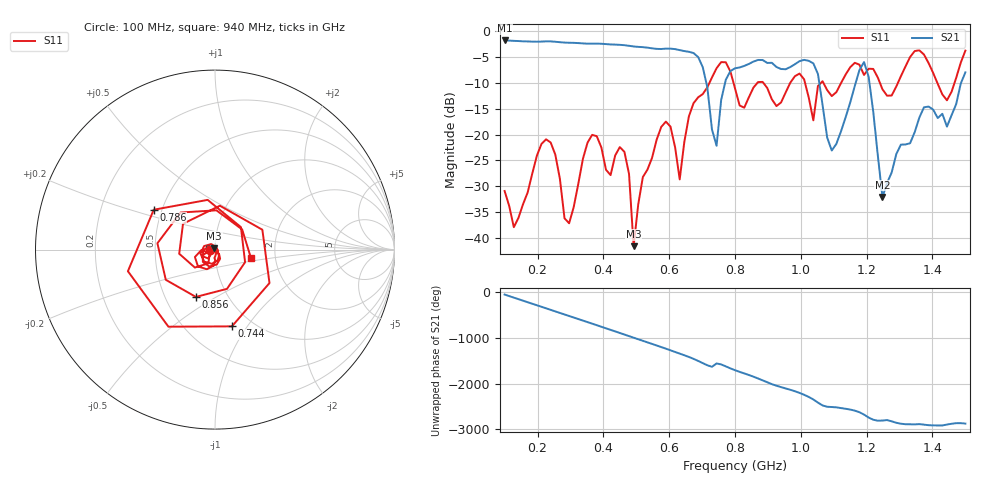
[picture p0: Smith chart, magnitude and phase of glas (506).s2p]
! NanoVNA-App
! Date: 2025-09-25 15:59:25
! Start: 100MHz Stop: 1,5GHz Points: 101
! S-Parameter data: F S11 S21 S12 S22
# Hz S RI R 50
!  Frequency  S11_Real  S11_Imag  S21_Real  S21_Imag  S12_Real  S12_Imag  S22_Real  S22_Imag
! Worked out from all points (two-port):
!   101 points, 100 MHz to 1.5 GHz, reference 50 ohm
!   highest |S21| = -1.80 dB at 100 MHz (marker M1); lowest = -32.1 dB at 1.248 GHz (marker M2)
!   |S21| within 3 dB of the highest: start of sweep to 684.3 MHz
!   lowest |S11| = -41.6 dB at 492 MHz (marker M3), VSWR 1.02, Z = 49.5 + j0.654 ohm
!   |S11| at or under -10 dB: start of sweep to 722.4 MHz; 795.4 MHz to 868 MHz (72.6 MHz wide, 8.73 % of centre); 886.1 MHz to 967.8 MHz (81.66 MHz wide, 8.81 % of centre)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
!   S12 and S22 are empty: the file has one direction only
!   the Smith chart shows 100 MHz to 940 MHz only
!   S11 on the Smith chart (normalised r, x): 100 MHz: 0.95, -0.01; 744 MHz: 0.81, -0.85; 786 MHz: 0.45, +0.24; 856 MHz: 0.71, -0.41; 940 MHz: 1.49, -0.14
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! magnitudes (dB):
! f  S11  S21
! 100 MHz  -30.9  -1.8
! 128 MHz  -37.9  -1.9
! 226 MHz  -20.9  -2.0
! 296 MHz  -37.2  -2.2
! 338 MHz  -24.7  -2.4
! 464 MHz  -23.4  -2.7
! 492 MHz  -41.6  -3.0
! 576 MHz  -18.5  -3.5
! 632 MHz  -28.7  -3.7
! 702 MHz  -12.2  -7.0
! 744 MHz  -7.2  -22.2
! 786 MHz  -7.8  -7.7
! 800 MHz  -11.1  -7.2
! 856 MHz  -10.9  -5.9
! 940 MHz  -13.8  -7.3
! 996 MHz  -8.2  -5.8
! 1.038 GHz  -17.3  -6.2
! 1.094 GHz  -12.6  -23.1
! 1.192 GHz  -8.5  -6.0
! 1.248 GHz  -11.2  -32.1
! 1.276 GHz  -12.5  -27.4
! 1.5 GHz  -3.8  -8.0
